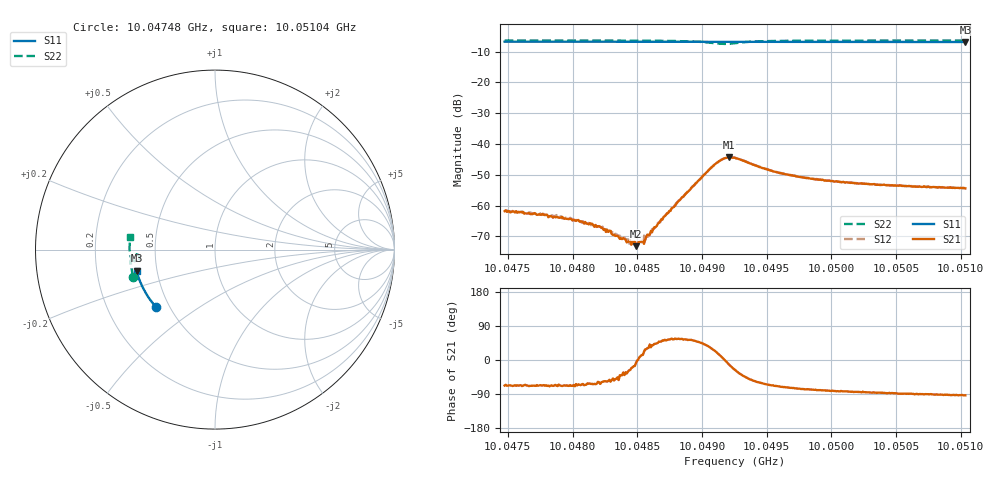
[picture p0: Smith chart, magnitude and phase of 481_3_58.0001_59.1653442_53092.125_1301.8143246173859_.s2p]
#  HZ  S  RI  R  50.00
! Rohde & Schwarz Vector Network Analyzer
! Rohde-Schwarz,ZNB20-2Port,1311601062101988,3.16
! Created: UTC 3/21/2024, 1:11:53 AM
! freq[Hz]  re:S11  im:S11  re:S21  im:S21  re:S12  im:S12  re:S22  im:S22
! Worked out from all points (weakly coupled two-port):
!   401 points, 10.04748 GHz to 10.05104 GHz, reference 50 ohm
!   highest |S21| = -44.36 dB at 10.04921 GHz (marker M1); lowest = -73.1 dB at 10.04849 GHz (marker M2)
!   lowest |S11| = -6.9 dB at 10.05104 GHz (marker M3), VSWR 2.65, Z = 19.1 - j5.68 ohm
!   |S11| at or under -10 dB: nowhere
!   |S22| runs from -7.5 to -6.4 dB; largest |S21 - S12| = 0.00045
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1.0047475e10  -0.3267 -0.3215  0.000313 -0.000751  0.000385 -0.000739  -0.4545 -0.1516
1.0047787e10  -0.3403 -0.306  0.000267 -0.000657  0.000318 -0.000624  -0.4602 -0.1309
1.0047831e10  -0.3422 -0.3037  0.000259 -0.000625  0.000292 -0.000603  -0.4608 -0.1278
1.0047983e10  -0.3485 -0.2961  0.000244 -0.000559  0.000289 -0.000565  -0.4632 -0.1174
1.0048072e10  -0.352 -0.2914  0.00024 -0.000502  0.000244 -0.000465  -0.4643 -0.1112
1.0048223e10  -0.3581 -0.2836  0.000227 -0.000373  0.000259 -0.000357  -0.4662 -0.1003
1.004841e10  -0.3654 -0.2736  0.000238 -0.00015  0.000237 -0.000156  -0.468 -0.0862
1.0048437e10  -0.3663 -0.2721  0.000237 -0.000121  0.000211 -9.42e-05  -0.4682 -0.0841
1.004849e10  -0.3683 -0.2694  0.000218 -3.12e-05  0.000233 -4.72e-06  -0.4683 -0.0798
1.0048544e10  -0.3703 -0.2663  0.000263 6.24e-05  0.000252 0.000102  -0.4686 -0.0752
1.0048579e10  -0.3716 -0.2644  0.000289 0.000178  0.000261 0.000172  -0.4688 -0.0722
1.0048668e10  -0.375 -0.2595  0.000348 0.000395  0.000346 0.000417  -0.4683 -0.0645
1.0048811e10  -0.38 -0.2515  0.000643 0.000933  0.000594 0.000971  -0.466 -0.0503
1.0049078e10  -0.3886 -0.2362  0.0037 0.0021  0.00355 0.00233  -0.4366 -0.026
1.0049149e10  -0.3908 -0.2322  0.00545 0.000879  0.00542 0.00123  -0.4214 -0.0358
1.0049211e10  -0.3926 -0.2289  0.00591 -0.0013  0.00601 -0.00089  -0.4201 -0.0533
1.0049256e10  -0.3942 -0.2265  0.00535 -0.00268  0.00551 -0.00229  -0.428 -0.0625
1.0049567e10  -0.4036 -0.2086  0.00131 -0.00329  0.00152 -0.00323  -0.4683 -0.0431
1.0049852e10  -0.4117 -0.1915  0.000557 -0.00267  0.000714 -0.00266  -0.4747 -0.0173
1.0050066e10  -0.417 -0.1786  0.000305 -0.0024  0.000459 -0.00238  -0.4757 -0.000493
1.0050448e10  -0.4256 -0.1551  0.000119 -0.00213  0.000221 -0.00215  -0.4755 0.0273
1.0051036e10  -0.4365 -0.1181  -0.000104 -0.0019  1.36e-05 -0.00193  -0.4713 0.0676
